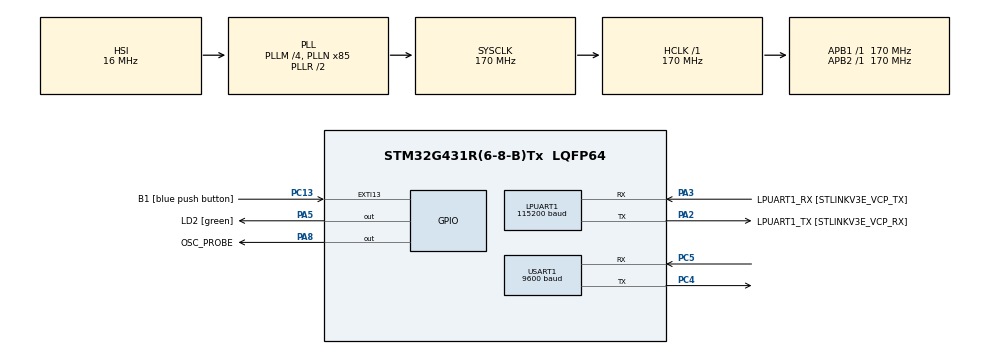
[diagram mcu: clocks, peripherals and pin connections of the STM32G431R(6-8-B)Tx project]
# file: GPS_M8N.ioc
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Dma.Request0=USART1_RX
Dma.Request1=USART1_TX
Dma.USART1_RX.0.Direction=DMA_PERIPH_TO_MEMORY
Dma.USART1_RX.0.EventEnable=DISABLE
Dma.USART1_RX.0.Instance=DMA1_Channel3
Dma.USART1_RX.0.MemDataAlignment=DMA_MDATAALIGN_BYTE
Dma.USART1_RX.0.MemInc=DMA_MINC_ENABLE
Dma.USART1_RX.0.Mode=DMA_NORMAL
Dma.USART1_RX.0.PeriphDataAlignment=DMA_PDATAALIGN_BYTE
Dma.USART1_RX.0.PeriphInc=DMA_PINC_DISABLE
Dma.USART1_RX.0.Polarity=HAL_DMAMUX_REQ_GEN_RISING
Dma.USART1_RX.0.Priority=DMA_PRIORITY_LOW
Dma.USART1_RX.0.RequestNumber=1
Dma.USART1_RX.0.SignalID=NONE
Dma.USART1_RX.0.SyncEnable=DISABLE
Dma.USART1_RX.0.SyncPolarity=HAL_DMAMUX_SYNC_NO_EVENT
Dma.USART1_RX.0.SyncRequestNumber=1
Dma.USART1_RX.0.SyncSignalID=NONE
Dma.USART1_TX.1.Direction=DMA_MEMORY_TO_PERIPH
Dma.USART1_TX.1.EventEnable=DISABLE
Dma.USART1_TX.1.Instance=DMA1_Channel4
Dma.USART1_TX.1.MemDataAlignment=DMA_MDATAALIGN_BYTE
Dma.USART1_TX.1.MemInc=DMA_MINC_ENABLE
Dma.USART1_TX.1.Mode=DMA_NORMAL
Dma.USART1_TX.1.PeriphDataAlignment=DMA_PDATAALIGN_BYTE
Dma.USART1_TX.1.PeriphInc=DMA_PINC_DISABLE
Dma.USART1_TX.1.Polarity=HAL_DMAMUX_REQ_GEN_RISING
Dma.USART1_TX.1.Priority=DMA_PRIORITY_LOW
Dma.USART1_TX.1.RequestNumber=1
Dma.USART1_TX.1.SignalID=NONE
Dma.USART1_TX.1.SyncEnable=DISABLE
Dma.USART1_TX.1.SyncPolarity=HAL_DMAMUX_SYNC_NO_EVENT
Dma.USART1_TX.1.SyncRequestNumber=1
Dma.USART1_TX.1.SyncSignalID=NONE
LPUART1.BaudRate=115200
LPUART1.WordLength=UART_WORDLENGTH_8B
Mcu.Family=STM32G4
Mcu.Name=STM32G431R(6-8-B)Tx
Mcu.Package=LQFP64
NVIC.DMA1_Channel3_IRQn=true\:0\:0\:false\:false\:true\:false\:true\:true
NVIC.DMA1_Channel4_IRQn=true\:0\:0\:false\:false\:true\:false\:true\:true
NVIC.PriorityGroup=NVIC_PRIORITYGROUP_4
NVIC.USART1_IRQn=true\:0\:0\:false\:false\:true\:true\:true\:true
PA13.GPIO_Label=T_SWDIO
PA13.Mode=Serial_Wire
PA13.Signal=SYS_JTMS-SWDIO
PA14.GPIO_Label=T_SWCLK
PA14.Mode=Serial_Wire
PA14.Signal=SYS_JTCK-SWCLK
PA2.GPIO_Label=LPUART1_TX [STLINKV3E_VCP_RX]
PA2.Mode=Asynchronous
PA2.Signal=LPUART1_TX
PA3.GPIO_Label=LPUART1_RX [STLINKV3E_VCP_TX]
PA3.Mode=Asynchronous
PA3.Signal=LPUART1_RX
PA5.GPIO_Label=LD2 [green]
PA5.Signal=GPIO_Output
PA8.GPIO_Label=OSC_PROBE
PA8.Signal=GPIO_Output
PB3.GPIO_Label=T_SWO
PB3.Signal=SYS_JTDO-SWO
PC13.GPIO_Label=B1 [blue push button]
PC13.Signal=GPXTI13
PC14-OSC32_IN.Mode=LSE-External-Oscillator
PC14-OSC32_IN.Signal=RCC_OSC32_IN
PC15-OSC32_OUT.Mode=LSE-External-Oscillator
PC15-OSC32_OUT.Signal=RCC_OSC32_OUT
PC4.Mode=Asynchronous
PC4.Signal=USART1_TX
PC5.Mode=Asynchronous
PC5.Signal=USART1_RX
PF0-OSC_IN.Mode=HSE-External-Oscillator
PF0-OSC_IN.Signal=RCC_OSC_IN
PF1-OSC_OUT.Mode=HSE-External-Oscillator
PF1-OSC_OUT.Signal=RCC_OSC_OUT
ProjectManager.HeapSize=0x200
ProjectManager.StackSize=0x400
ProjectManager.TargetToolchain=STM32CubeIDE
RCC.ADC12Freq_Value=170000000
RCC.AHBFreq_Value=170000000
RCC.APB1Freq_Value=170000000
RCC.APB1TimFreq_Value=170000000
RCC.APB2Freq_Value=170000000
RCC.APB2TimFreq_Value=170000000
RCC.CortexFreq_Value=170000000
RCC.EXTERNAL_CLOCK_VALUE=12288000
RCC.HCLKFreq_Value=170000000
RCC.HSE_VALUE=24000000
RCC.HSI48_VALUE=48000000
RCC.HSI_VALUE=16000000
RCC.PLLM=RCC_PLLM_DIV4
RCC.PLLN=85
RCC.RTCClockSelection=RCC_RTCCLKSOURCE_LSE
RCC.SYSCLKFreq_VALUE=170000000
RCC.SYSCLKSource=RCC_SYSCLKSOURCE_PLLCLK
RCC.USBFreq_Value=170000000
RCC.VCOOutputFreq_Value=340000000
USART1.BaudRate=9600
USART1.VirtualMode-Asynchronous=VM_ASYNC
VP_SYS_VS_DBSignals.Mode=DisableDeadBatterySignals
board=NUCLEO-G431RB

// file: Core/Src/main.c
/* USER CODE BEGIN Header */
/**
  ******************************************************************************
  * @file           : main.c
  * @brief          : Main program body
  ******************************************************************************
  * @attention
  *
  * <h2><center>&copy; Copyright (c) 2021 STMicroelectronics.
  * All rights reserved.</center></h2>
  *
  * This software component is licensed by ST under BSD 3-Clause license,
  * the "License"; You may not use this file except in compliance with the
  * License. You may obtain a copy of the License at:
  *                        opensource.org/licenses/BSD-3-Clause
  *
  ******************************************************************************
  */
/* USER CODE END Header */
#include "main.h"
#include "dma.h"
#include "usart.h"
#include "gpio.h"

/* USER CODE BEGIN Includes */
#include <stdio.h>
#include <GNSS.h>
/* USER CODE END Includes */

/* USER CODE BEGIN PTD */
GNSS_StateHandle GNSS_Handle;
/* USER CODE END PTD */

void SystemClock_Config(void);

/* USER CODE BEGIN 0 */
int _write(int file, char *ptr, int len)
{
	HAL_UART_Transmit(&hlpuart1, (uint8_t*)ptr, len, HAL_MAX_DELAY);
	return len;
}
int count, countMax;
/* USER CODE END 0 */

int main(void)
{

  /* MCU Configuration--------------------------------------------------------*/

  /* Reset of all peripherals, Initializes the Flash interface and the Systick. */
  HAL_Init();

  /* Configure the system clock */
  SystemClock_Config();

  /* Initialize all configured peripherals */
  MX_GPIO_Init();
  MX_LPUART1_UART_Init();
  MX_DMA_Init();
  MX_USART1_UART_Init();
  /* USER CODE BEGIN 2 */

  	// Start to configure GNSS module. Set baudrate to 115200, disable NMEA, set rate to 5 Hz, etc.
	GNSS_Init(&GNSS_Handle, &huart1);

	// Because we changed GNSS baud rate to 115200, we need to change also UART1 baud rate and init it again.
	HAL_UART_Abort_IT(&huart1);
	HAL_UART_DeInit(&huart1);
	huart1.Init.BaudRate = 115200;
	if (HAL_UART_Init(&huart1) != HAL_OK) {
	    Error_Handler();
	}
	HAL_Delay(1000);

	// Timer values for GNSS requester and Hz counter
	uint32_t Timer = HAL_GetTick();
	uint32_t TimeHz = HAL_GetTick();
	int printFlag = 0;

	// Set GNSS mode to desired aplication case
	GNSS_SetMode(&GNSS_Handle, Stationary);

	HAL_Delay(250);

  /* USER CODE END 2 */

  /* Infinite loop */
  while (1)
  {

    /* USER CODE BEGIN 3 */

	// Request GNSS data whenever timer hits 100 ms.
	// As HAL_GetTick returns SysTime as milliseconds, 100 ms means we are getting
	// 		GNSS values at 5 Hz rate
	if ((HAL_GetTick() - Timer) > 200) {

		// Request "Navigation Position Velocity Time Solution"
		// Refeer to "32.17.17 UBX-NAV-PVT (0x01 0x07)" at M8N Interface manual
		GNSS_GetPVTData(&GNSS_Handle);
		GNSS_ParseBuffer(&GNSS_Handle);

		Timer = HAL_GetTick();

		printFlag = 1;
		count ++;
	}

	// As printing to external com port is time consuming, we are doing this task
	//		outside our 5 Hz time-dependent loop
	if (printFlag == 1){
		printf("Day: %d-%d-%d \r\n", GNSS_Handle.day, GNSS_Handle.month,GNSS_Handle.year);
		printf("Time: %d:%d:%d \r\n", GNSS_Handle.hour, GNSS_Handle.min,GNSS_Handle.sec);
		printf("Status of fix: %d \r\n", GNSS_Handle.fixType);
		printf("Number of satellites used: %d \r\n", GNSS_Handle.numSV);
		printf("Number of Sat.: %d \r\n", GNSS_Handle.satCount);
		printf("Latitude: %f \r\n", GNSS_Handle.fLat);
		printf("Longitude: %f \r\n",(float) GNSS_Handle.lon / 10000000.0);
		printf("Height above ellipsoid (meters): %f \r\n", (float) (GNSS_Handle.height) / 1000.0);
		printf("Height above mean sea level (meters): %f \r\n", (float) (GNSS_Handle.hMSL) / 1000.0);
		printf("Ground Speed (2-D): %ld \r\n", GNSS_Handle.gSpeed);
		printf("***************************************************\r\n");

		printFlag = 0;
	}

	if ((HAL_GetTick() - TimeHz) > 1000) {
		printf("Hz rate is: %d, time is: %lu \r\n", count, TimeHz);
		printf("***************************************************\r\n");
		countMax = count;
		count = 0;
		TimeHz = HAL_GetTick();
	}

  }
  /* USER CODE END 3 */
}

void SystemClock_Config(void)
{
  RCC_OscInitTypeDef RCC_OscInitStruct = {0};
  RCC_ClkInitTypeDef RCC_ClkInitStruct = {0};

  /** Configure the main internal regulator output voltage
  */
  HAL_PWREx_ControlVoltageScaling(PWR_REGULATOR_VOLTAGE_SCALE1_BOOST);

  /** Initializes the RCC Oscillators according to the specified parameters
  * in the RCC_OscInitTypeDef structure.
  */
  RCC_OscInitStruct.OscillatorType = RCC_OSCILLATORTYPE_HSI;
  RCC_OscInitStruct.HSIState = RCC_HSI_ON;
  RCC_OscInitStruct.HSICalibrationValue = RCC_HSICALIBRATION_DEFAULT;
  RCC_OscInitStruct.PLL.PLLState = RCC_PLL_ON;
  RCC_OscInitStruct.PLL.PLLSource = RCC_PLLSOURCE_HSI;
  RCC_OscInitStruct.PLL.PLLM = RCC_PLLM_DIV4;
  RCC_OscInitStruct.PLL.PLLN = 85;
  RCC_OscInitStruct.PLL.PLLP = RCC_PLLP_DIV2;
  RCC_OscInitStruct.PLL.PLLQ = RCC_PLLQ_DIV2;
  RCC_OscInitStruct.PLL.PLLR = RCC_PLLR_DIV2;
  if (HAL_RCC_OscConfig(&RCC_OscInitStruct) != HAL_OK)
  {
    Error_Handler();
  }

  /** Initializes the CPU, AHB and APB buses clocks
  */
  RCC_ClkInitStruct.ClockType = RCC_CLOCKTYPE_HCLK|RCC_CLOCKTYPE_SYSCLK
                              |RCC_CLOCKTYPE_PCLK1|RCC_CLOCKTYPE_PCLK2;
  RCC_ClkInitStruct.SYSCLKSource = RCC_SYSCLKSOURCE_PLLCLK;
  RCC_ClkInitStruct.AHBCLKDivider = RCC_SYSCLK_DIV1;
  RCC_ClkInitStruct.APB1CLKDivider = RCC_HCLK_DIV1;
  RCC_ClkInitStruct.APB2CLKDivider = RCC_HCLK_DIV1;

  if (HAL_RCC_ClockConfig(&RCC_ClkInitStruct, FLASH_LATENCY_4) != HAL_OK)
  {
    Error_Handler();
  }
}

void Error_Handler(void)
{
  __disable_irq();
  while (1)
  {
  }
}
